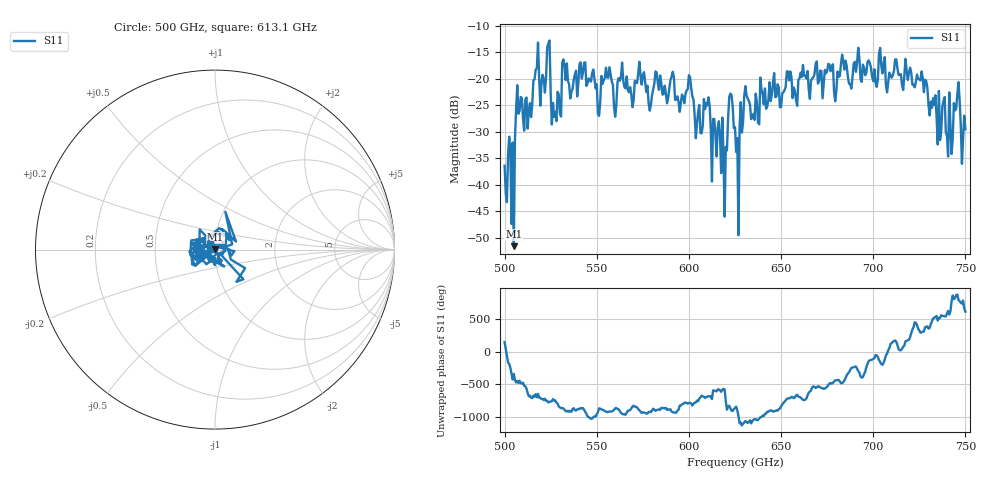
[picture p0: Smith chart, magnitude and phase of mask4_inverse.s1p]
!Created with skrf (http://scikit-rf.org).
# GHz S MA R 50.0
!freq magS11 angS11
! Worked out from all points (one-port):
!   401 points, 500 GHz to 750 GHz, reference 50 ohm
!   lowest |S11| = -51.6 dB at 505 GHz (marker M1), VSWR 1.01, Z = 50.3 + j0.0812 ohm
!   |S11| at or under -10 dB: start of sweep to end of sweep
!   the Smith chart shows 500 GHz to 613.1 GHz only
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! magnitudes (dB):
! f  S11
! 500 GHz  -36.4
! 505 GHz  -51.6
! 507.5 GHz  -26.6
! 513.8 GHz  -24.6
! 516.9 GHz  -18.3
! 520.6 GHz  -19.3
! 523.8 GHz  -13.3
! 526.9 GHz  -27.2
! 531.2 GHz  -17.0
! 542.5 GHz  -18.9
! 550.6 GHz  -26.6
! 556.2 GHz  -19.8
! 560 GHz  -27.2
! 562.5 GHz  -20.4
! 593.8 GHz  -23.3
! 610 GHz  -25.1
! 618.8 GHz  -34.4
! 622.5 GHz  -22.8
! 625 GHz  -29.2
! 626.2 GHz  -31.2
! 631.2 GHz  -23.1
! 656.2 GHz  -23.7
! 687.5 GHz  -21.0
! 718.8 GHz  -20.3
! 735.6 GHz  -22.3
! 741.9 GHz  -29.0
! 745.6 GHz  -23.0
! 750 GHz  -29.5
